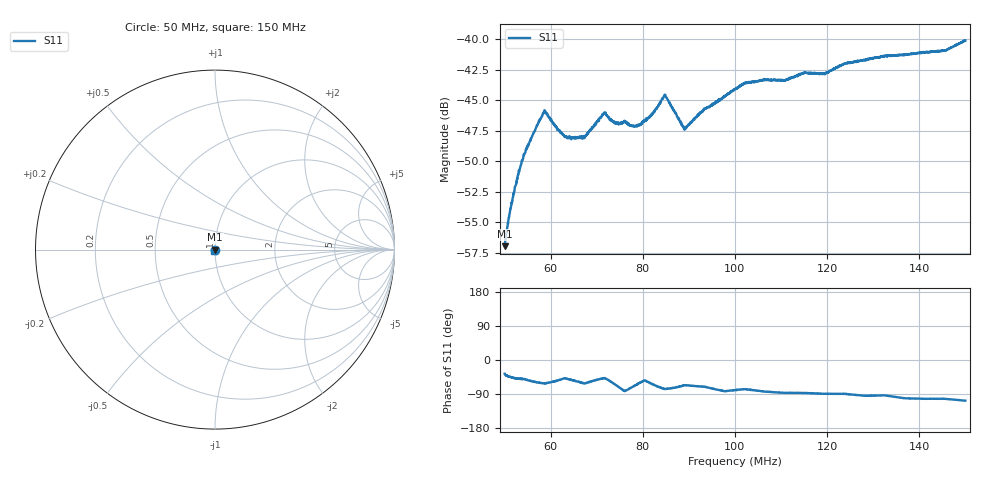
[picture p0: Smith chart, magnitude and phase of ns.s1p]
! COPPER MOUNTAIN TECHNOLOGIES, PLANAR TR1300/1, 00090118, 19.1.1/1.0
! Date: 11/26/2019 3:01:48 PM
! Data: Format [Calibration Info]
! Freq  S11: Re/Im F1
# HZ S RI R 50
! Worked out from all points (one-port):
!   2001 points, 50 MHz to 150 MHz, reference 50 ohm
!   lowest |S11| = -57.0 dB at 50 MHz (marker M1), VSWR 1.00, Z = 50.1 - j0.084 ohm
!   |S11| at or under -10 dB: start of sweep to end of sweep
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5e7  0.00114 -0.000838
5.17e7  0.00149 -0.00159
5.34e7  0.00192 -0.00228
5.465e7  0.0022 -0.00277
5.815e7  0.00236 -0.00421
5.905e7  0.00239 -0.00434
6.25e7  0.00261 -0.00313
6.4e7  0.00249 -0.00307
6.73e7  0.00186 -0.00351
7.16e7  0.00333 -0.00371
7.5e7  0.00128 -0.00431
7.93e7  0.0022 -0.00384
8.195e7  0.00221 -0.00437
8.47e7  0.00139 -0.00574
8.52e7  0.00142 -0.00556
8.75e7  0.00151 -0.00454
8.87e7  0.00163 -0.00409
8.935e7  0.00174 -0.00396
9.36e7  0.00169 -0.0049
1e8  0.00113 -0.00613
1.025e8  0.00148 -0.00644
1.125e8  0.000417 -0.00694
1.1505e8  0.000398 -0.00729
1.194e8  0.000123 -0.00718
1.25e8  -8.64e-05 -0.00801
1.375e8  -0.00167 -0.00851
1.4545e8  -0.00191 -0.00876
1.5e8  -0.00294 -0.00942
